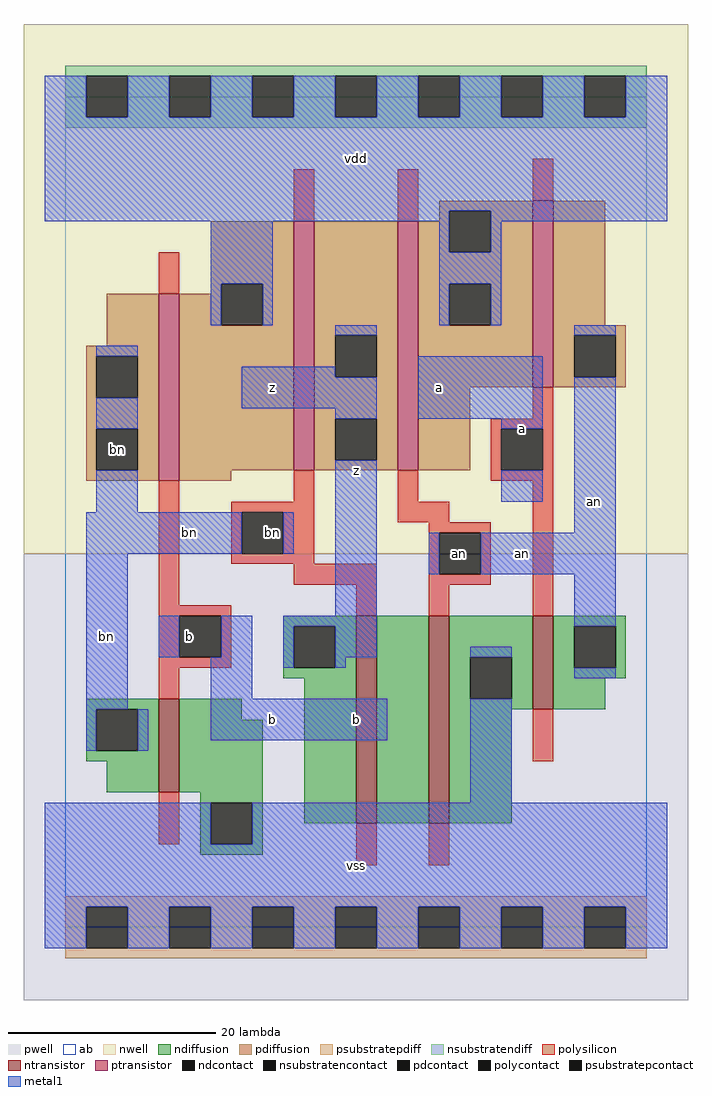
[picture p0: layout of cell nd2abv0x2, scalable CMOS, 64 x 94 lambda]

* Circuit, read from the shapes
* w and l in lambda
.subckt nd2abv0x2 a an b bn vdd vss z
M1 vss b bn vss nfet w=9 l=2
M2 n1 bn z vss nfet w=20 l=2
M3 vss an n1 vss nfet w=20 l=2
M4 an a vss vss nfet w=9 l=2
M5 vdd b bn vdd pfet w=18 l=2
M6 z bn vdd vdd pfet w=24 l=2
M7 vdd an z vdd pfet w=24 l=2
M8 an a vdd vdd pfet w=18 l=2
.ends

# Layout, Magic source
magic
tech scmos
<< ab >>
rect 0 0 56 80
<< pwell >>
rect -4 -7 60 36
<< nwell >>
rect -4 36 60 87
<< polysilicon >>
rect 22 68 24 73
rect 32 68 34 73
rect 45 70 47 74
rect 9 61 11 65
rect 45 49 47 52
rect 41 48 47 49
rect 41 44 42 48
rect 46 44 47 48
rect 9 31 11 43
rect 22 41 24 44
rect 16 40 24 41
rect 16 36 17 40
rect 21 36 24 40
rect 32 41 34 44
rect 41 43 47 44
rect 32 39 37 41
rect 16 35 24 36
rect 35 38 41 39
rect 22 33 30 35
rect 9 30 16 31
rect 28 30 30 33
rect 35 34 36 38
rect 40 34 41 38
rect 35 33 41 34
rect 35 30 37 33
rect 45 30 47 43
rect 9 26 11 30
rect 15 26 16 30
rect 9 25 16 26
rect 9 22 11 25
rect 9 8 11 13
rect 45 16 47 21
rect 28 6 30 10
rect 35 6 37 10
<< ndiffusion >>
rect 21 29 28 30
rect 21 25 22 29
rect 26 25 28 29
rect 21 24 28 25
rect 2 21 9 22
rect 2 17 3 21
rect 7 17 9 21
rect 2 16 9 17
rect 4 13 9 16
rect 11 20 17 22
rect 11 13 19 20
rect 13 12 19 13
rect 13 8 14 12
rect 18 8 19 12
rect 23 10 28 24
rect 30 10 35 30
rect 37 26 45 30
rect 37 22 39 26
rect 43 22 45 26
rect 37 21 45 22
rect 47 29 54 30
rect 47 25 49 29
rect 53 25 54 29
rect 47 24 54 25
rect 47 21 52 24
rect 37 10 43 21
rect 13 7 19 8
<< pdiffusion >>
rect 36 69 45 70
rect 36 68 37 69
rect 14 62 22 68
rect 14 61 15 62
rect 4 56 9 61
rect 2 55 9 56
rect 2 51 3 55
rect 7 51 9 55
rect 2 48 9 51
rect 2 44 3 48
rect 7 44 9 48
rect 2 43 9 44
rect 11 58 15 61
rect 19 58 22 62
rect 11 44 22 58
rect 24 57 32 68
rect 24 53 26 57
rect 30 53 32 57
rect 24 49 32 53
rect 24 45 26 49
rect 30 45 32 49
rect 24 44 32 45
rect 34 65 37 68
rect 41 65 45 69
rect 34 62 45 65
rect 34 58 37 62
rect 41 58 45 62
rect 34 52 45 58
rect 47 58 52 70
rect 47 57 54 58
rect 47 53 49 57
rect 53 53 54 57
rect 47 52 54 53
rect 34 44 39 52
rect 11 43 16 44
<< metal1 >>
rect -2 78 2 82
rect 6 78 10 82
rect 14 78 18 82
rect 22 78 26 82
rect 30 78 34 82
rect 38 78 42 82
rect 46 78 50 82
rect 54 78 58 82
rect -2 69 58 78
rect -2 68 37 69
rect 14 62 20 68
rect 14 58 15 62
rect 19 58 20 62
rect 36 65 37 68
rect 41 68 58 69
rect 41 65 42 68
rect 36 62 42 65
rect 36 58 37 62
rect 41 58 42 62
rect 26 57 30 58
rect 3 55 7 56
rect 3 48 7 51
rect 17 53 26 54
rect 49 57 53 58
rect 17 50 30 53
rect 3 40 7 44
rect 26 49 30 50
rect 34 49 46 55
rect 2 36 17 40
rect 21 36 22 40
rect 2 21 6 36
rect 26 30 30 45
rect 42 48 46 49
rect 42 41 46 44
rect 49 38 53 53
rect 35 34 36 38
rect 40 34 53 38
rect 9 26 11 30
rect 15 26 18 30
rect 14 22 18 26
rect 21 29 30 30
rect 21 25 22 29
rect 26 26 30 29
rect 49 29 53 34
rect 39 26 43 27
rect 26 25 27 26
rect 49 24 53 25
rect 2 17 3 21
rect 7 17 8 21
rect 14 18 31 22
rect 39 12 43 22
rect -2 8 14 12
rect 18 8 58 12
rect -2 2 58 8
rect -2 -2 2 2
rect 6 -2 10 2
rect 14 -2 18 2
rect 22 -2 26 2
rect 30 -2 34 2
rect 38 -2 42 2
rect 46 -2 50 2
rect 54 -2 58 2
<< ntransistor >>
rect 9 13 11 22
rect 28 10 30 30
rect 35 10 37 30
rect 45 21 47 30
<< ptransistor >>
rect 9 43 11 61
rect 22 44 24 68
rect 32 44 34 68
rect 45 52 47 70
<< polycontact >>
rect 42 44 46 48
rect 17 36 21 40
rect 36 34 40 38
rect 11 26 15 30
<< ndcontact >>
rect 22 25 26 29
rect 3 17 7 21
rect 14 8 18 12
rect 39 22 43 26
rect 49 25 53 29
<< pdcontact >>
rect 3 51 7 55
rect 3 44 7 48
rect 15 58 19 62
rect 26 53 30 57
rect 26 45 30 49
rect 37 65 41 69
rect 37 58 41 62
rect 49 53 53 57
<< psubstratepcontact >>
rect 2 -2 6 2
rect 10 -2 14 2
rect 18 -2 22 2
rect 26 -2 30 2
rect 34 -2 38 2
rect 42 -2 46 2
rect 50 -2 54 2
<< nsubstratencontact >>
rect 2 78 6 82
rect 10 78 14 82
rect 18 78 22 82
rect 26 78 30 82
rect 34 78 38 82
rect 42 78 46 82
rect 50 78 54 82
<< psubstratepdiff >>
rect 0 2 56 3
rect 0 -2 2 2
rect 6 -2 10 2
rect 14 -2 18 2
rect 22 -2 26 2
rect 30 -2 34 2
rect 38 -2 42 2
rect 46 -2 50 2
rect 54 -2 56 2
rect 0 -3 56 -2
<< nsubstratendiff >>
rect 0 82 56 83
rect 0 78 2 82
rect 6 78 10 82
rect 14 78 18 82
rect 22 78 26 82
rect 30 78 34 82
rect 38 78 42 82
rect 46 78 50 82
rect 54 78 56 82
rect 0 77 56 78
<< labels >>
rlabel polycontact 20 38 20 38 6 bn
rlabel polycontact 38 36 38 36 6 an
rlabel pdcontact 5 46 5 46 6 bn
rlabel metal1 4 28 4 28 6 bn
rlabel metal1 20 20 20 20 6 b
rlabel polycontact 12 28 12 28 6 b
rlabel metal1 12 38 12 38 6 bn
rlabel metal1 20 52 20 52 6 z
rlabel metal1 28 6 28 6 6 vss
rlabel metal1 28 20 28 20 6 b
rlabel metal1 28 44 28 44 6 z
rlabel metal1 36 52 36 52 6 a
rlabel metal1 28 74 28 74 6 vdd
rlabel metal1 44 36 44 36 6 an
rlabel metal1 51 41 51 41 6 an
rlabel metal1 44 48 44 48 6 a
<< end >>
